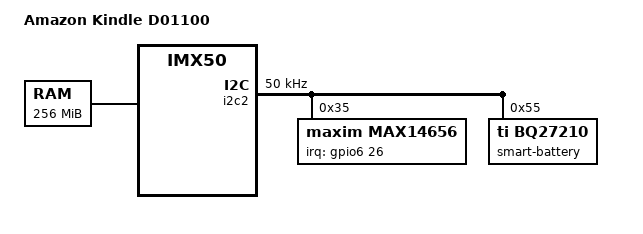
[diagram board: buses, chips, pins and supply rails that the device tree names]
/*
 * Copyright 2017 Alexander Kurz <akurz@blala.de>
 *
 * The code contained herein is licensed under the GNU General Public
 * License. You may obtain a copy of the GNU General Public License
 * Version 2 or later at the following locations:
 *
 * http://www.opensource.org/licenses/gpl-license.html
 * http://www.gnu.org/copyleft/gpl.html
 */

/dts-v1/;
#include "imx50-kindle-common.dtsi"
#include <dt-bindings/interrupt-controller/irq.h>
#include <dt-bindings/gpio/gpio.h>
#include <dt-bindings/input/input.h>

/ {
	model = "Amazon Kindle D01100";
	compatible = "amazon,kindle-d01100", "fsl,imx50";

	chosen {
		stdout-path = &uart1;
	};

	memory@70000000 {
		device_type = "memory";
		reg = <0x70000000 0x10000000>;
	};
};

&iomuxc {
	pinctrl-names = "default";
	pinctrl-0 = <&pinctrl_hog>;

	imx50-kindle-d01100 {
		pinctrl_hog: hoggrp {
			fsl,pins = <
				MX50_PAD_EIM_EB1__GPIO1_20		0xc0
				MX50_PAD_EIM_EB0__GPIO1_19		0xc0
				MX50_PAD_EIM_CS2__GPIO1_16		0xc0
				MX50_PAD_EIM_CS1__GPIO1_17		0xc0
				MX50_PAD_EIM_CS0__GPIO1_18		0xc0
				MX50_PAD_SSI_RXC__GPIO6_5		0x84
			>;
		};
	};
};

&i2c2 {
	clock-frequency = <50000>;
	pinctrl-names = "default";
	pinctrl-0 = <&pinctrl_i2c2>;
	status = "okay";

	max14656@35 {
		compatible = "maxim,max14656";
		reg = <0x35>;
		pinctrl-names = "default";
		pinctrl-0 = <&pinctrl_charger_detect>;
		interrupt-parent = <&gpio6>;
		interrupts = <26 IRQ_TYPE_LEVEL_HIGH>;
	};

	smart-battery@55 {
		compatible = "ti,bq27210";
		reg = <0x55>;
		ti,i2c-retry-count = <2>;
		ti,poll-retry-count = <10>;
	};
};
